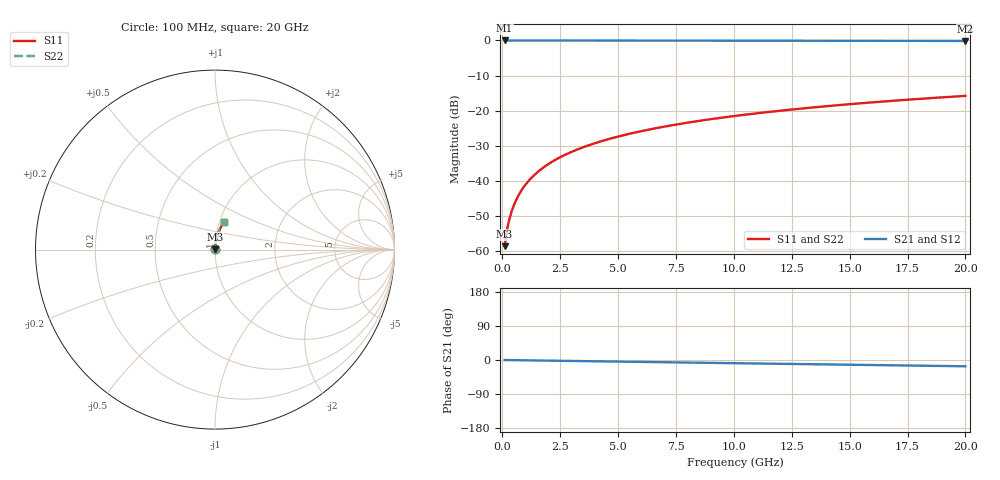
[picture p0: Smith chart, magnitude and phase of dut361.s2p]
! Touchstone file exported from HFSS 2026.1.0
!  File:  C:/ffzhzh/LocalFiles/Ansys_Project_Files/temp_train_BSMRDL_361_1783011618_46388.aedt
!  Generated:  01:01:39 AM Jul  3, 2026
!  Design:  BSMRDL
!  Project:  temp_train_BSMRDL_361_1783011618_46388
! Variables:
!  h_bsmrdl = 4.86um
!  h_ox = 20um
!  h_rdl = 5um
!  h_sub = 80um
!  h_tmrdl = 5um
!  h_tsv = 80um
!  h_via = 3um
!  l_bsmrdl = 201.13um
!  l_sub = 601.13um
!  l_tmrdl = 200um
!  m_sub = 200um
!  pitch = 59.11um
!  r_tsv = 6um
!  s_tmrdl = 10um
!  w_bsmrdl = 28.82um
!  w_sub = 500um
!  w_tmrdl = 12um
!  x_tsv_center1 = 206um
!  x_tsv_center2 = 435.95um
!  x_tsv_center3 = 647.95um
!  x_tsv_center4 = 877.9um
!  x_tsv_center5 = 1089.9um
!  x_tsv_center6 = 1319.85um
# GHz S MA R 50.000000
! Terminal data exported
! Port[1] = BSM_RDL1_1_T1
! Port[2] = BSM_RDL1_1_T2
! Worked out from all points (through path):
!   200 points, 100 MHz to 20 GHz, reference 50 ohm
!   highest |S21| = -0.01 dB at 100 MHz (marker M1); lowest = -0.1 dB at 20 GHz (marker M2)
!   group delay of S21, straight-line fit = 2.3 ps
!   lowest |S11| = -58.6 dB at 100 MHz (marker M3), VSWR 1.00, Z = 50.1 + j0.0941 ohm
!   |S11| at or under -10 dB: start of sweep to end of sweep
!   |S22| runs from -58.6 to -15.8 dB; largest |S21 - S12| = 8.1e-15
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0.1  0.00117 53.5  0.9993 -0.1  0.9993 -0.1  0.00117 53.5
! Gamma 0 0 0 0
! Port Impedance 50 0 50 0
0.2  0.001972 67.5  0.9992 -0.2  0.9992 -0.2  0.001972 67.5
0.3  0.002799 73.5  0.9992 -0.3  0.9992 -0.3  0.002799 73.5
0.4  0.003638 76.9  0.9992 -0.3  0.9992 -0.3  0.003638 76.9
0.5  0.004486 79.1  0.9992 -0.4  0.9992 -0.4  0.004486 79.1
0.7  0.006197 81.6  0.9991 -0.6  0.9991 -0.6  0.006197 81.6
0.8  0.007057 82.3  0.9991 -0.7  0.9991 -0.7  0.007057 82.3
1  0.00878 83.3  0.999 -0.9  0.999 -0.9  0.00878 83.4
1.2  0.0105 84.0  0.999 -1.0  0.999 -1.0  0.0105 84.0
1.4  0.01223 84.3  0.9989 -1.2  0.9989 -1.2  0.01223 84.3
1.7  0.01481 84.6  0.9989 -1.5  0.9989 -1.5  0.01481 84.6
2  0.01738 84.7  0.9988 -1.7  0.9988 -1.7  0.01738 84.7
2.7  0.02336 84.6  0.9985 -2.3  0.9985 -2.3  0.02336 84.6
3.5  0.03012 84.2  0.9981 -3.0  0.9981 -3.0  0.03012 84.2
4.2  0.03599 83.8  0.9977 -3.6  0.9977 -3.6  0.03599 83.8
5  0.04265 83.3  0.9973 -4.2  0.9973 -4.2  0.04265 83.3
6.8  0.0575 82.0  0.9961 -5.8  0.9961 -5.8  0.0575 82.0
8.3  0.06977 81.0  0.9951 -7.0  0.9951 -7.0  0.06977 81.0
10.1  0.08438 79.6  0.9937 -8.5  0.9937 -8.5  0.08438 79.6
13.4  0.1108 77.1  0.9906 -11.2  0.9906 -11.2  0.1108 77.1
16.7  0.1368 74.6  0.987 -13.9  0.987 -13.9  0.1368 74.6
20  0.1621 72.0  0.9829 -16.6  0.9829 -16.6  0.1621 72.0
